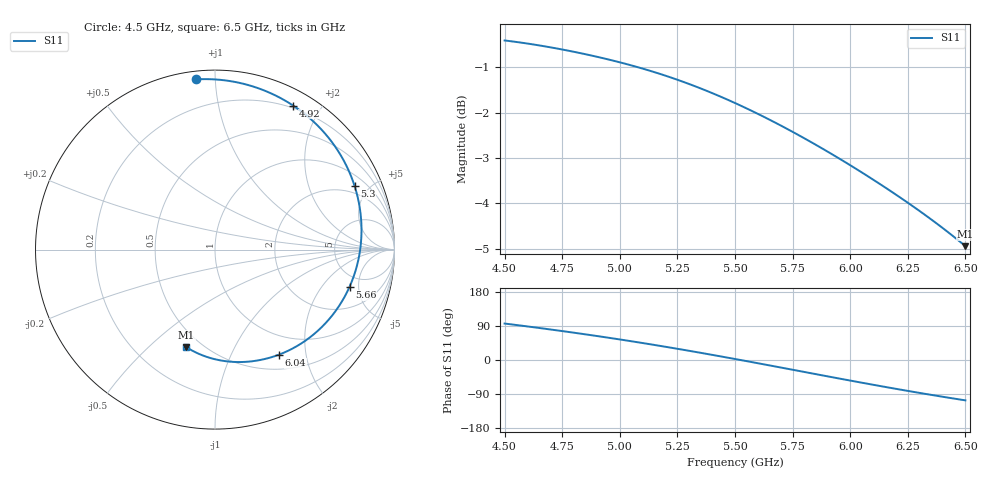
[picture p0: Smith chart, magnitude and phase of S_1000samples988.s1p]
! TOUCHSTONE file generated by CST MICROWAVE STUDIO
! Date and time: Sun Oct 30 00:29:36 2022
! Project name: L.cst
! Parameters = {Di=1.27; Epsilon_r=1.56; InnerDiameter=1.27; Length=2; Lf=10; Lg=60; OuterConductorThickness=0.2921; OuterDiameter=3.6; Wf=3; Wp=41.2; de=1.5; df=6.8; g=0.8; gx=4.75036; gy=4.73103; h=2.34; hf=1.524; px=14.3063; py=8.14161; w=9.7; wx=9.55597; wy=3.41059}
! Header version: 2018
! Port assignment regex: !\s*Touchstone port\s*([0-9]+)\s*=\s*(CST MWS port|CST DS port)\s*([0-9]+|Zmin|Zmax)\s*\(\"(.*)\"\)(\s*mode\s*([0-9]+))?.*
! Touchstone port assignment:
! Touchstone port 1 = CST MWS port 1 ("")
# GHz S DB R 50
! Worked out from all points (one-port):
!   101 points, 4.5 GHz to 6.5 GHz, reference 50 ohm
!   lowest |S11| = -4.9 dB at 6.5 GHz (marker M1), VSWR 3.61, Z = 20.7 - j33.1 ohm
!   |S11| at or under -10 dB: nowhere
!   S11 on the Smith chart (normalised r, x): 4.5 GHz: 0.04, +0.90; 4.92 GHz: 0.17, +1.67; 5.3 GHz: 1.56, +4.07; 5.66 GHz: 3.75, -3.93; 6.04 GHz: 0.70, -1.54; 6.5 GHz: 0.41, -0.66
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4.5  -0.41 96.2
4.58  -0.46 90.1
4.64  -0.51 85.3
4.76  -0.62 75.5
4.84  -0.70 68.6
4.92  -0.79 61.6
5  -0.89 54.2
5.06  -0.97 48.5
5.14  -1.09 40.7
5.2  -1.19 34.7
5.26  -1.29 28.5
5.3  -1.37 24.4
5.4  -1.57 13.7
5.46  -1.70 7.1
5.5  -1.79 2.7
5.58  -1.98 -6.3
5.66  -2.18 -15.4
5.76  -2.45 -26.9
5.82  -2.62 -33.8
5.88  -2.79 -40.6
5.94  -2.97 -47.5
6  -3.16 -54.3
6.04  -3.29 -58.7
6.14  -3.61 -69.8
6.2  -3.81 -76.2
6.26  -4.02 -82.6
6.38  -4.46 -94.9
6.5  -4.94 -106.5
